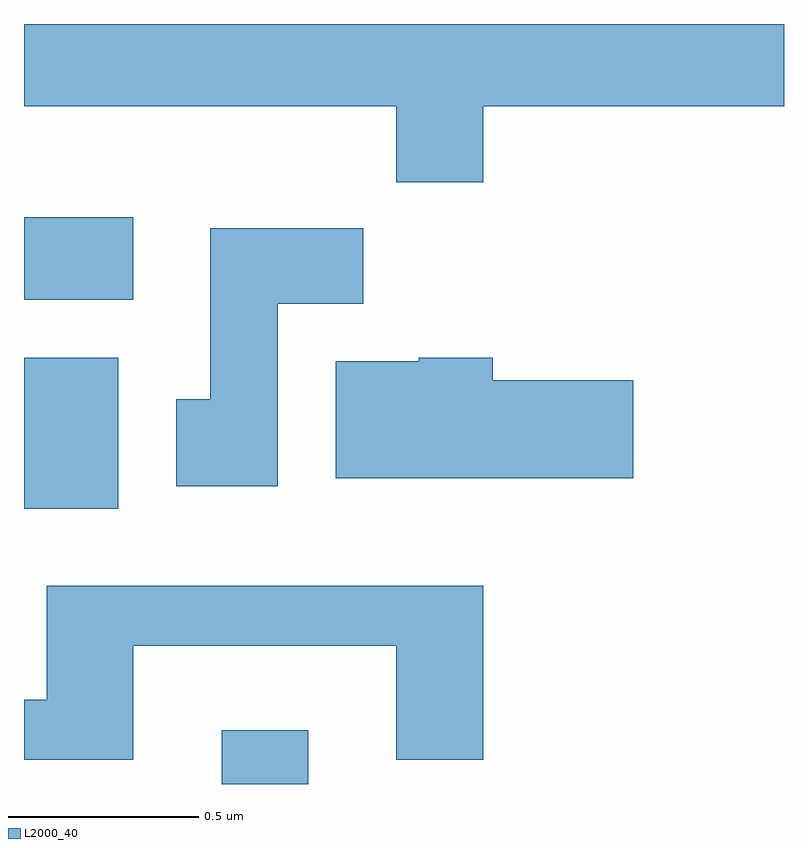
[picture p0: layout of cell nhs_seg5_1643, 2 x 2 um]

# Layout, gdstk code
import gdstk
lib = gdstk.Library(unit=1e-6, precision=1e-09)
def R(c, l, rs):  # rectangles x0, y0, x1, y1
    for r in rs: c.add(gdstk.rectangle(r[:2], r[2:], *l))
def P(c, l, *ps):  # polygons
    for p in ps: c.add(gdstk.Polygon(p, *l))
L2000_40 = (2000, 40)

nhs_seg5_1643 = lib.new_cell('nhs_seg5_1643')
R(nhs_seg5_1643, L2000_40, [(198.131,1395.072,198.359,1395.214), (197.611,1395.796,197.859,1396.194), (197.611,1396.346,197.899,1396.564)])
P(nhs_seg5_1643, L2000_40, [(198.819,1396.856),(199.611,1396.856),(199.611,1397.072),(197.611,1397.072),(197.611,1396.856),(198.591,1396.856),(198.591,1396.656),(198.819,1396.656)],
  [(198.279,1396.336),(198.504,1396.336),(198.504,1396.534),(198.101,1396.534),(198.101,1396.084),(198.011,1396.084),(198.011,1395.856),(198.279,1395.856)],
  [(199.214,1396.134),(198.844,1396.134),(198.844,1396.194),(198.65,1396.194),(198.65,1396.184),(198.431,1396.184),(198.431,1395.876),(199.214,1395.876)],
  [(197.899,1395.436),(198.591,1395.436),(198.591,1395.136),(198.819,1395.136),(198.819,1395.594),(197.671,1395.594),(197.671,1395.294),(197.611,1395.294),(197.611,1395.136),(197.899,1395.136)])

lib.write_gds('nhs_seg5_1643.gds')
